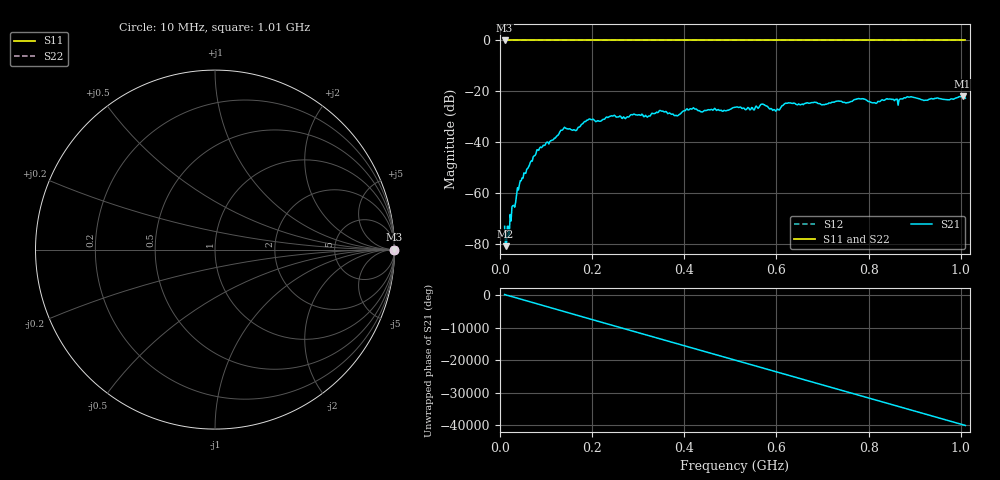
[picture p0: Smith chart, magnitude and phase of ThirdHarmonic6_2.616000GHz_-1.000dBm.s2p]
! 8/17/2025 5:45:37 AM
! C:\ANRITSUVNA\TEMP\TEMP.S2P
! CHANNEL.1
! TR.MEASUREMENT
! RAW.DATA
! RF.CORRECTION.OFF
! AVERAGING.OFF
! IF.BANDWIDTH: 5KHZ
! SWEEPTYPE:  FREQ.SWEEP(Linear)
! Reference Plane Port Info
! PORT:  PORT1  PORT2
! DISTANCE:  0  m  0  m
! TIME:  0  s  0  s
! PHASE.OFFSET:  0  deg.  0  deg.
! LOSS:  0  dB  0  dB
! REF.LOSS:  0  dB  0  dB
! REF.FREQ:  0  Hz  0  Hz
! Power Info
! POWER:  -20  dBm  -20  dBm
! EFF.POWER:  -20  dBm  -20  dBm
! SOURCE.ATTEN:  0  dB  0  dB
! TEST.ATTEN:  0  dB  0  dB
# GHZ S RI R 50.0
! FREQ.GHZ  S11RE  S11IM  S21RE  S21IM  S12RE  S12IM  S22RE  S22IM
!; PortSelection: Port_12
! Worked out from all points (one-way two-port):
!   501 points, 10 MHz to 1.01 GHz, reference 50 ohm
!   highest |S21| = -21.88 dB at 1.004 GHz (marker M1); lowest = -80.7 dB at 12 MHz (marker M2)
!   lowest |S11| = 0.0 dB at 10 MHz (marker M3)
!   |S11| at or under -10 dB: nowhere
!   |S22| runs from 0.0 to 0.0 dB; largest |S21 - S12| = 1.1
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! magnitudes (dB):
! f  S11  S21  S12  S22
! 10 MHz  0.0  -72.9  0.0  0.0
! 12 MHz  0.0  -80.7  0.0  0.0
! 16 MHz  0.0  -72.9  0.0  0.0
! 26 MHz  0.0  -65.2  0.0  0.0
! 42 MHz  0.0  -56.6  0.0  0.0
! 84 MHz  0.0  -43.1  0.0  0.0
! 136 MHz  0.0  -35.0  0.0  0.0
! 162 MHz  0.0  -35.1  0.0  0.0
! 178 MHz  0.0  -32.8  0.0  0.0
! 192 MHz  0.0  -31.0  0.0  0.0
! 322 MHz  0.0  -29.7  0.0  0.0
! 344 MHz  0.0  -28.2  0.0  0.0
! 382 MHz  0.0  -29.4  0.0  0.0
! 416 MHz  0.0  -27.0  0.0  0.0
! 510 MHz  0.0  -26.2  0.0  0.0
! 570 MHz  0.0  -24.9  0.0  0.0
! 596 MHz  0.0  -27.2  0.0  0.0
! 622 MHz  0.0  -24.7  0.0  0.0
! 678 MHz  0.0  -24.3  0.0  0.0
! 844 MHz  0.0  -23.0  0.0  0.0
! 1.004 GHz  0.0  -21.9  0.0  0.0
! 1.01 GHz  0.0  -22.6  0.0  0.0
